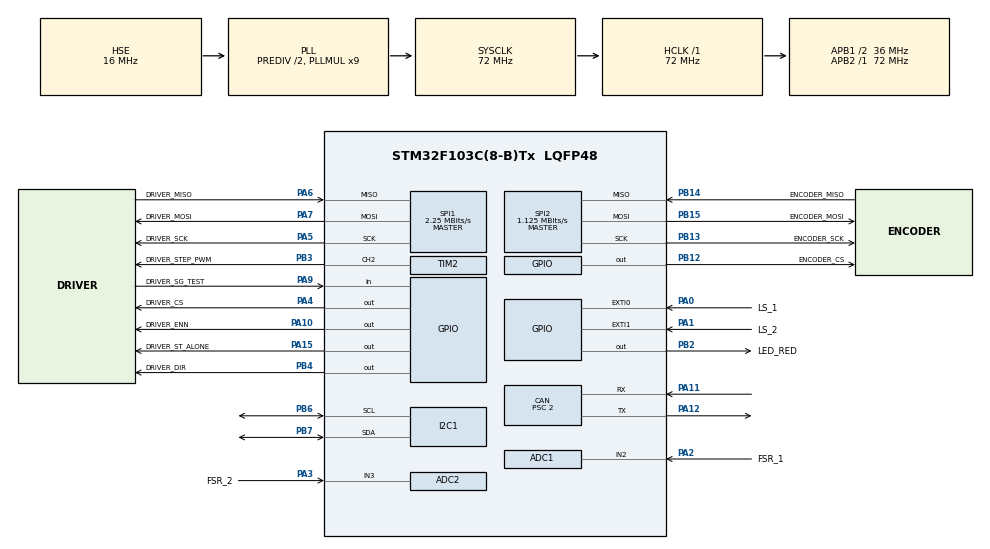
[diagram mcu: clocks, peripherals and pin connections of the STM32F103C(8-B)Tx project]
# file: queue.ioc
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ADC1.Channel-0\#ChannelRegularConversion=ADC_CHANNEL_2
ADC1.EnableAnalogWatchDog=true
ADC1.NbrOfConversionFlag=1
ADC1.Rank-0\#ChannelRegularConversion=1
ADC1.SamplingTime-0\#ChannelRegularConversion=ADC_SAMPLETIME_1CYCLE_5
ADC1.WatchdogChannel=ADC_CHANNEL_2
ADC1.master=1
ADC2.Channel-0\#ChannelRegularConversion=ADC_CHANNEL_3
ADC2.EnableAnalogWatchDog=true
ADC2.NbrOfConversionFlag=1
ADC2.Rank-0\#ChannelRegularConversion=1
ADC2.SamplingTime-0\#ChannelRegularConversion=ADC_SAMPLETIME_1CYCLE_5
ADC2.WatchdogChannel=ADC_CHANNEL_3
CAN.BS1=CAN_BS1_15TQ
CAN.BS2=CAN_BS2_2TQ
CAN.CalculateBaudRate=1000000
CAN.CalculateTimeBit=1000
CAN.CalculateTimeQuantum=55.55555555555556
CAN.NART=ENABLE
CAN.Prescaler=2
CAN.SJW=CAN_SJW_2TQ
Dma.Request0=TIM2_CH2/CH4
Dma.TIM2_CH2/CH4.0.Direction=DMA_PERIPH_TO_MEMORY
Dma.TIM2_CH2/CH4.0.Instance=DMA1_Channel7
Dma.TIM2_CH2/CH4.0.MemDataAlignment=DMA_MDATAALIGN_HALFWORD
Dma.TIM2_CH2/CH4.0.MemInc=DMA_MINC_ENABLE
Dma.TIM2_CH2/CH4.0.Mode=DMA_NORMAL
Dma.TIM2_CH2/CH4.0.PeriphDataAlignment=DMA_PDATAALIGN_HALFWORD
Dma.TIM2_CH2/CH4.0.PeriphInc=DMA_PINC_DISABLE
Dma.TIM2_CH2/CH4.0.Priority=DMA_PRIORITY_LOW
Mcu.Family=STM32F1
Mcu.Name=STM32F103C(8-B)Tx
Mcu.Package=LQFP48
NVIC.ADC1_2_IRQn=true\:0\:0\:false\:false\:true\:true\:true\:true
NVIC.DMA1_Channel7_IRQn=true\:0\:0\:false\:false\:true\:false\:true\:true
NVIC.EXTI0_IRQn=true\:1\:0\:true\:false\:true\:true\:true\:true
NVIC.EXTI1_IRQn=true\:1\:0\:true\:false\:true\:true\:true\:true
NVIC.PriorityGroup=NVIC_PRIORITYGROUP_4
NVIC.USB_LP_CAN1_RX0_IRQn=true\:2\:0\:true\:false\:true\:true\:true\:true
PA0-WKUP.GPIO_Label=LS_1
PA0-WKUP.GPIO_ModeDefaultEXTI=GPIO_MODE_IT_RISING_FALLING
PA0-WKUP.Signal=GPXTI0
PA1.GPIO_Label=LS_2
PA1.GPIO_ModeDefaultEXTI=GPIO_MODE_IT_RISING_FALLING
PA1.Signal=GPXTI1
PA10.GPIO_Label=DRIVER_ENN
PA10.Signal=GPIO_Output
PA11.Mode=CAN_Activate
PA11.Signal=CAN_RX
PA12.Mode=CAN_Activate
PA12.Signal=CAN_TX
PA13.Mode=Serial_Wire
PA13.Signal=SYS_JTMS-SWDIO
PA14.Mode=Serial_Wire
PA14.Signal=SYS_JTCK-SWCLK
PA15.GPIO_Label=DRIVER_ST_ALONE
PA15.Signal=GPIO_Output
PA2.GPIO_Label=FSR_1
PA2.Signal=ADCx_IN2
PA3.GPIO_Label=FSR_2
PA3.Signal=ADCx_IN3
PA4.GPIO_Label=DRIVER_CS
PA4.Signal=GPIO_Output
PA5.GPIO_Label=DRIVER_SCK
PA5.Mode=Full_Duplex_Master
PA5.Signal=SPI1_SCK
PA6.GPIO_Label=DRIVER_MISO
PA6.Mode=Full_Duplex_Master
PA6.Signal=SPI1_MISO
PA7.GPIO_Label=DRIVER_MOSI
PA7.Mode=Full_Duplex_Master
PA7.Signal=SPI1_MOSI
PA9.GPIO_Label=DRIVER_SG_TEST
PA9.Signal=GPIO_Input
PB12.GPIO_Label=ENCODER_CS
PB12.Signal=GPIO_Output
PB13.GPIO_Label=ENCODER_SCK
PB13.Mode=Full_Duplex_Master
PB13.Signal=SPI2_SCK
PB14.GPIO_Label=ENCODER_MISO
PB14.Mode=Full_Duplex_Master
PB14.Signal=SPI2_MISO
PB15.GPIO_Label=ENCODER_MOSI
PB15.Mode=Full_Duplex_Master
PB15.Signal=SPI2_MOSI
PB2.GPIO_Label=LED_RED
PB2.Signal=GPIO_Output
PB3.GPIO_Label=DRIVER_STEP_PWM
PB3.Signal=S_TIM2_CH2
PB4.GPIO_Label=DRIVER_DIR
PB4.Signal=GPIO_Output
PB6.Mode=I2C
PB6.Signal=I2C1_SCL
PB7.Mode=I2C
PB7.Signal=I2C1_SDA
PD0-OSC_IN.Mode=HSE-External-Oscillator
PD0-OSC_IN.Signal=RCC_OSC_IN
PD1-OSC_OUT.Mode=HSE-External-Oscillator
PD1-OSC_OUT.Signal=RCC_OSC_OUT
ProjectManager.HeapSize=0x200
ProjectManager.StackSize=0x400
ProjectManager.TargetToolchain=STM32CubeIDE
RCC.ADCPresc=RCC_ADCPCLK2_DIV6
RCC.AHBFreq_Value=72000000
RCC.APB1CLKDivider=RCC_HCLK_DIV2
RCC.APB1Freq_Value=36000000
RCC.APB1TimFreq_Value=72000000
RCC.APB2Freq_Value=72000000
RCC.APB2TimFreq_Value=72000000
RCC.HCLKFreq_Value=72000000
RCC.HSEDivPLL=RCC_HSE_PREDIV_DIV2
RCC.HSE_VALUE=16000000
RCC.PLLMUL=RCC_PLL_MUL9
RCC.PLLSourceVirtual=RCC_PLLSOURCE_HSE
RCC.SYSCLKFreq_VALUE=72000000
RCC.SYSCLKSource=RCC_SYSCLKSOURCE_PLLCLK
RCC.USBFreq_Value=72000000
SH.ADCx_IN2.0=ADC1_IN2,IN2
SH.ADCx_IN3.0=ADC2_IN3,IN3
SH.S_TIM2_CH2.0=TIM2_CH2,PWM Generation2 CH2
SPI1.BaudRatePrescaler=SPI_BAUDRATEPRESCALER_32
SPI1.CalculateBaudRate=2.25 MBits/s
SPI1.Direction=SPI_DIRECTION_2LINES
SPI1.Mode=SPI_MODE_MASTER
SPI1.VirtualType=VM_MASTER
SPI2.BaudRatePrescaler=SPI_BAUDRATEPRESCALER_32
SPI2.CLKPhase=SPI_PHASE_2EDGE
SPI2.CalculateBaudRate=1.125 MBits/s
SPI2.Direction=SPI_DIRECTION_2LINES
SPI2.Mode=SPI_MODE_MASTER
SPI2.VirtualType=VM_MASTER
TIM2.Channel-PWM\ Generation2\ CH2=TIM_CHANNEL_2
TIM2.OCMode_PWM-PWM\ Generation2\ CH2=TIM_OCMODE_PWM2
TIM2.Period=100-1
TIM2.Prescaler=720-1
VP_TIM2_VS_ClockSourceINT.Mode=Internal
board=custom

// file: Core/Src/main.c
/* USER CODE BEGIN Header */
/**
 ******************************************************************************
 * @file           : main.c
 * @brief          : Main program body
 ******************************************************************************
 * @attention
 *
 * Copyright (c) 2024 STMicroelectronics.
 * All rights reserved.
 *
 * This software is licensed under terms that can be found in the LICENSE file
 * in the root directory of this software component.
 * If no LICENSE file comes with this software, it is provided AS-IS.
 *
 ******************************************************************************
 */
/* USER CODE END Header */
#include <queue_lib.h>
#include "main.h"
#include "adc.h"
#include "can.h"
#include "dma.h"
#include "i2c.h"
#include "spi.h"
#include "tim.h"
#include "gpio.h"

void SystemClock_Config(void);

int main(void)
{

    /* MCU Configuration--------------------------------------------------------*/

    /* Reset of all peripherals, Initializes the Flash interface and the Systick. */
    HAL_Init();

    /* Configure the system clock */
    SystemClock_Config();

    /* Initialize all configured peripherals */
    MX_GPIO_Init();
    MX_DMA_Init();
    MX_CAN_Init();
    MX_I2C1_Init();
    MX_SPI1_Init();
    MX_SPI2_Init();
    MX_ADC1_Init();
    MX_ADC2_Init();
    MX_TIM2_Init();

    /* Infinite loop */
    /* USER CODE BEGIN WHILE */

    Queue_TypeDef queue_1 = *create_queue();

    for (uint32_t i = 0; i < 1000000000; i++)
    {
        uint32_t *dummy1 = malloc(sizeof(uint32_t));
        if (dummy1 == NULL)
        {
            break;
        }
        *dummy1 = (uint32_t) i;

        uint32_t *dummy2 = malloc(sizeof(uint32_t));
        if (dummy2 == NULL)
        {
            break;
        }
        *dummy2 = (uint32_t) i;

        uint32_t *dummy3 = malloc(sizeof(uint32_t));
        if (dummy3 == NULL)
        {
            break;
        }
        *dummy3 = (uint32_t) i;

        queue_enqueue(&queue_1, dummy1);
        queue_enqueue(&queue_1, dummy2);
        queue_enqueue(&queue_1, dummy3);

        queue_dequeue(&queue_1);
        queue_dequeue(&queue_1);
        queue_dequeue(&queue_1);
    }

    destroy_queue(&queue_1);

    while (1)
    {
        /* USER CODE END WHILE */

    }
}

void SystemClock_Config(void)
{
    RCC_OscInitTypeDef RCC_OscInitStruct =
    { 0 };
    RCC_ClkInitTypeDef RCC_ClkInitStruct =
    { 0 };
    RCC_PeriphCLKInitTypeDef PeriphClkInit =
    { 0 };

    /** Initializes the RCC Oscillators according to the specified parameters
     * in the RCC_OscInitTypeDef structure.
     */
    RCC_OscInitStruct.OscillatorType = RCC_OSCILLATORTYPE_HSE;
    RCC_OscInitStruct.HSEState = RCC_HSE_ON;
    RCC_OscInitStruct.HSEPredivValue = RCC_HSE_PREDIV_DIV2;
    RCC_OscInitStruct.HSIState = RCC_HSI_ON;
    RCC_OscInitStruct.PLL.PLLState = RCC_PLL_ON;
    RCC_OscInitStruct.PLL.PLLSource = RCC_PLLSOURCE_HSE;
    RCC_OscInitStruct.PLL.PLLMUL = RCC_PLL_MUL9;
    if (HAL_RCC_OscConfig(&RCC_OscInitStruct) != HAL_OK)
    {
        Error_Handler();
    }

    /** Initializes the CPU, AHB and APB buses clocks
     */
    RCC_ClkInitStruct.ClockType = RCC_CLOCKTYPE_HCLK | RCC_CLOCKTYPE_SYSCLK
            | RCC_CLOCKTYPE_PCLK1 | RCC_CLOCKTYPE_PCLK2;
    RCC_ClkInitStruct.SYSCLKSource = RCC_SYSCLKSOURCE_PLLCLK;
    RCC_ClkInitStruct.AHBCLKDivider = RCC_SYSCLK_DIV1;
    RCC_ClkInitStruct.APB1CLKDivider = RCC_HCLK_DIV2;
    RCC_ClkInitStruct.APB2CLKDivider = RCC_HCLK_DIV1;

    if (HAL_RCC_ClockConfig(&RCC_ClkInitStruct, FLASH_LATENCY_2) != HAL_OK)
    {
        Error_Handler();
    }
    PeriphClkInit.PeriphClockSelection = RCC_PERIPHCLK_ADC;
    PeriphClkInit.AdcClockSelection = RCC_ADCPCLK2_DIV6;
    if (HAL_RCCEx_PeriphCLKConfig(&PeriphClkInit) != HAL_OK)
    {
        Error_Handler();
    }
}

void Error_Handler(void)
{
    __disable_irq();
    while (1)
    {
    }
}
